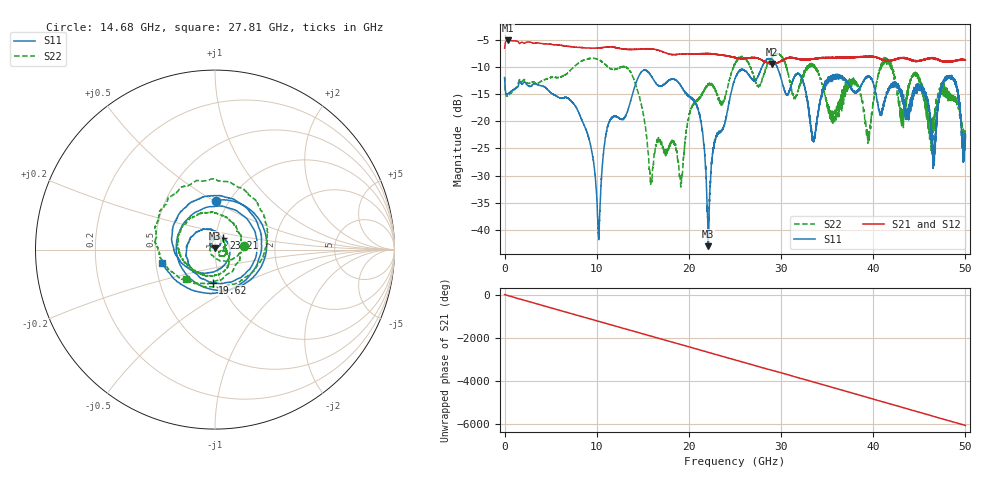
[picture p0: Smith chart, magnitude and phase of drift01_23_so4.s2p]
!Created with skrf (http://scikit-rf.org).
# Hz S RI R 50.0
!freq ReS11 ImS11 ReS21 ImS21 ReS12 ImS12 ReS22 ImS22
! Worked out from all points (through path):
!   10001 points, 300 kHz to 50 GHz, reference 50 ohm
!   highest |S21| = -5.06 dB at 345.3 MHz (marker M1); lowest = -9.4 dB at 29.04 GHz (marker M2)
!   group delay of S21, straight-line fit = 336 ps
!   lowest |S11| = -43.0 dB at 22.09 GHz (marker M3), VSWR 1.01, Z = 49.8 + j0.681 ohm
!   |S11| at or under -10 dB: start of sweep to 27.92 GHz; 29.59 GHz to end of sweep
!   |S22| runs from -32.1 to -7.5 dB; largest |S21 - S12| = 0.011
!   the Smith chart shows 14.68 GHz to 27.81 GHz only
!   S11 on the Smith chart (normalised r, x): 14.68 GHz: 0.87, +0.51; 19.62 GHz: 0.91, -0.35; 23.21 GHz: 1.09, +0.14; 27.81 GHz: 0.54, -0.09
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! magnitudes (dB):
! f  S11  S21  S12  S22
! 300 kHz  -12.0  -6.5  -6.5  -11.7
! 345.3 MHz  -14.9  -5.1  -5.1  -15.3
! 8.335 GHz  -19.6  -6.4  -6.4  -8.9
! 10.2 GHz  -41.2  -6.4  -6.4  -8.6
! 11.23 GHz  -20.7  -6.3  -6.3  -10.0
! 14.68 GHz  -11.3  -6.7  -6.7  -15.8
! 15.88 GHz  -11.5  -6.6  -6.6  -31.1
! 16.67 GHz  -13.4  -6.9  -6.9  -23.1
! 19.62 GHz  -14.7  -7.5  -7.5  -23.2
! 21.23 GHz  -19.5  -7.5  -7.5  -15.6
! 22.09 GHz  -43.0  -7.5  -7.5  -13.2
! 23.21 GHz  -22.1  -7.7  -7.7  -15.6
! 25 GHz  -12.1  -8.2  -8.3  -9.5
! 27.81 GHz  -10.4  -8.6  -8.6  -12.7
! 29.04 GHz  -8.6  -9.4  -9.4  -8.1
! 33.34 GHz  -22.4  -8.5  -8.4  -9.5
! 39.47 GHz  -11.7  -8.1  -8.1  -22.6
! 41.67 GHz  -13.8  -8.8  -8.8  -9.2
! 45.36 GHz  -13.7  -8.7  -8.7  -14.5
! 46.55 GHz  -28.2  -8.3  -8.3  -20.3
! 48.52 GHz  -11.9  -8.9  -8.9  -15.4
! 50 GHz  -23.3  -8.7  -8.6  -22.9
